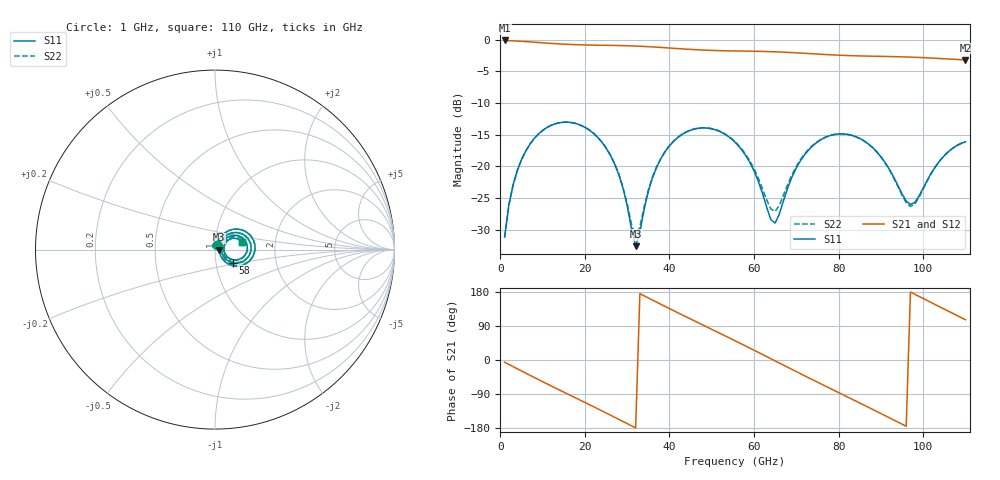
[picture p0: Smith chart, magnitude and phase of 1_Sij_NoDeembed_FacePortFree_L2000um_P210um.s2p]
! Touchstone file exported from HFSS 2024.2.0
!  File:  C:/Users/vaintrug/Documents/Ansoft_Workspace/Comparaison_Calculs_HFSS/1_VarPort.aedt
!  Generated:  03:22:18 PM Jan 21, 2025
!  Design:  1_NoDeembed_FacePortFree
!  Project:  1_VarPort
!  Setup:  Setup1
!  Solution:  Sweep
! Variables:
!  $Lenght = 2000um
!  $PortSize = 210um
!  Gap = 30um
!  Th = 2um
!  X_centralStrip = 20um
!  X_masse = 200um
!  Y_Sub = 2mm
!  Z_Box = 400um
!  Z_Sub = 200um
# GHz S MA R 50.000000
! Terminal data exported
! Port[1] = 1
! Port[2] = 2
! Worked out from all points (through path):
!   110 points, 1 GHz to 110 GHz, reference 50 ohm
!   highest |S21| = -0.13 dB at 1 GHz (marker M1); lowest = -3.2 dB at 110 GHz (marker M2)
!   group delay of S21, straight-line fit = 15.5 ps
!   lowest |S11| = -32.6 dB at 32 GHz (marker M3), VSWR 1.05, Z = 52.4 - j0.0641 ohm
!   |S11| at or under -10 dB: start of sweep to end of sweep
!   |S22| runs from -31.3 to -13.0 dB; largest |S21 - S12| = 1.3e-14
!   S11 on the Smith chart (normalised r, x): 1 GHz: 1.03, +0.05; 58 GHz: 1.20, -0.18; 110 GHz: 1.35, +0.11
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1  0.02773 61.2  0.9854 -5.9  0.9854 -5.9  0.02772 61.2
! Gamma 5.85585817213776 49.9891944288323 5.88256871815502 49.9905907638088
! Port Impedance 50 0 50 0
3  0.07137 65.7  0.9783 -17.4  0.9783 -17.4  0.07134 65.8
7  0.15 48.6  0.9599 -40.3  0.9599 -40.3  0.15 48.8
13  0.2171 17.7  0.9295 -73.8  0.9295 -73.8  0.2171 18.1
20  0.2036 -17.7  0.9082 -112.1  0.9082 -112.1  0.2037 -16.8
27  0.1051 -48.2  0.8997 -150.9  0.8997 -150.9  0.1058 -46.0
29  0.0676 -51.4  0.8967 -162.2  0.8967 -162.2  0.06888 -48.2
32  0.02351 -1.5  0.89 -179.2  0.89 -179.2  0.02736 -0.4
35  0.06373 54.7  0.8801 163.7  0.8801 163.7  0.0653 52.0
38  0.1158 48.9  0.8678 146.8  0.8678 146.8  0.1167 47.6
43  0.1791 27.7  0.8457 119.1  0.8457 119.1  0.1797 27.5
47  0.2004 9.3  0.8309 97.2  0.8309 97.2  0.2011 9.6
56  0.1493 -30.1  0.814 48.1  0.814 48.1  0.1512 -28.1
58  0.1224 -37.0  0.8121 37.0  0.8121 37.0  0.1249 -34.2
65  0.03575 8.5  0.8015 -2.4  0.8015 -2.4  0.0442 6.1
70  0.09728 44.3  0.787 -30.6  0.787 -30.6  0.1001 39.4
74  0.1467 32.4  0.773 -52.9  0.773 -52.9  0.148 29.1
83  0.1763 -4.4  0.7476 -102.4  0.7476 -102.4  0.1765 -6.3
92  0.09514 -30.8  0.7358 -152.3  0.7358 -152.3  0.09441 -32.5
97  0.05013 0.6  0.728 179.4  0.728 179.4  0.04836 0.3
103  0.1006 34.8  0.7129 145.5  0.7129 145.5  0.1003 35.9
110  0.1562 14.9  0.6924 106.4  0.6924 106.4  0.1571 16.3
